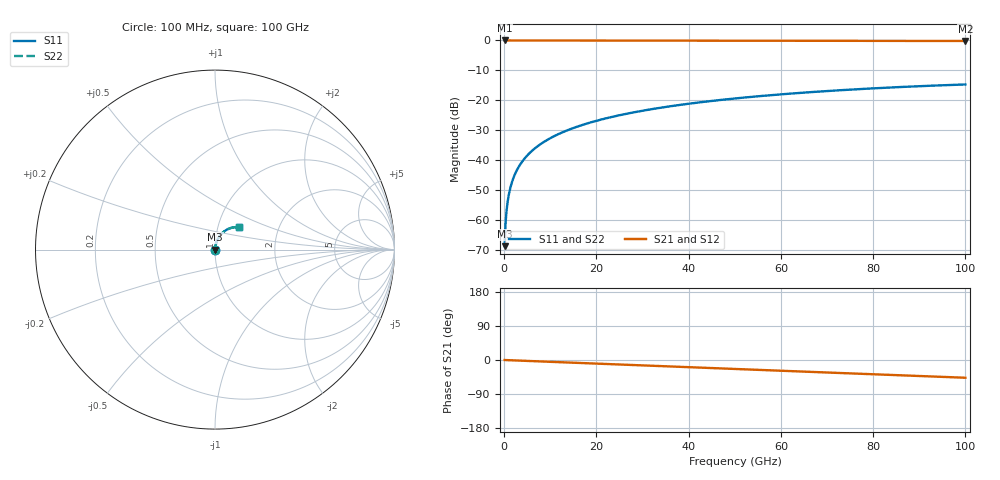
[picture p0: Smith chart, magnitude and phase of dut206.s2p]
! Touchstone file exported from HFSS 2026.1.0
!  File:  C:/ffzhzh/LocalFiles/Ansys_Project_Files/temp_train_TSV_206_1783507560_9504.aedt
!  Generated:  06:47:29 PM Jul  8, 2026
!  Design:  TSV
!  Project:  temp_train_TSV_206_1783507560_9504
! Variables:
!  h_bsmrdl = 2um
!  h_ox = 20um
!  h_rdl = 5um
!  h_sub = 93um
!  h_tmrdl = 5um
!  h_tsv = 93um
!  h_via = 3um
!  l_bsmrdl = 300um
!  l_sub = 414.64um
!  l_tmrdl = 200um
!  m_sub = 200um
!  pitch = 42.98um
!  r_tsv = 7.32um
!  s_tmrdl = 10um
!  w_bsmrdl = 18um
!  w_sub = 500um
!  w_tmrdl = 12um
!  x_tsv_center1 = 206um
!  x_tsv_center2 = 524um
!  x_tsv_center3 = 736um
!  x_tsv_center4 = 1054um
!  x_tsv_center5 = 1266um
!  x_tsv_center6 = 1584um
# GHz S MA R 50.000000
! Terminal data exported
! Port[1] = TSV1_1_T1
! Port[2] = TSV1_1_T2
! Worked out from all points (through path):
!   1000 points, 100 MHz to 100 GHz, reference 50 ohm
!   highest |S21| = 0.00 dB at 100 MHz (marker M1); lowest = -0.2 dB at 100 GHz (marker M2)
!   group delay of S21, straight-line fit = 1.3 ps
!   lowest |S11| = -68.8 dB at 100 MHz (marker M3), VSWR 1.00, Z = 50 + j0.0276 ohm
!   |S11| at or under -10 dB: start of sweep to end of sweep
!   |S22| runs from -68.8 to -14.7 dB; largest |S21 - S12| = 4.4e-15
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0.1  0.0003623 49.7  0.9998 -0.1  0.9998 -0.1  0.0003623 49.7
! Gamma 0 0 0 0
! Port Impedance 50 0 50 0
0.4  0.001108 74.8  0.9997 -0.2  0.9997 -0.2  0.001108 74.8
0.7  0.001855 79.0  0.9997 -0.3  0.9997 -0.3  0.001855 79.0
0.8  0.002101 79.8  0.9996 -0.4  0.9996 -0.4  0.002101 79.8
1.1  0.002835 81.2  0.9996 -0.5  0.9996 -0.5  0.002835 81.2
1.4  0.003562 81.9  0.9995 -0.7  0.9995 -0.7  0.003562 81.9
1.9  0.004757 82.6  0.9994 -0.9  0.9994 -0.9  0.004757 82.6
2.4  0.005933 82.9  0.9994 -1.2  0.9994 -1.2  0.005933 82.9
3  0.007325 83.1  0.9993 -1.5  0.9993 -1.5  0.007325 83.1
3.8  0.009162 83.2  0.9992 -1.8  0.9992 -1.8  0.009162 83.2
4.8  0.01144 83.2  0.999 -2.3  0.999 -2.3  0.01144 83.2
6  0.01417 83.1  0.9989 -2.9  0.9989 -2.9  0.01417 83.1
8.8  0.02049 82.4  0.9986 -4.2  0.9986 -4.2  0.02049 82.4
12.4  0.02854 81.2  0.9982 -5.9  0.9982 -5.9  0.02854 81.2
16.8  0.03826 79.4  0.9976 -8.0  0.9976 -8.0  0.03826 79.4
24.2  0.05437 76.4  0.9965 -11.5  0.9965 -11.5  0.05437 76.4
33.4  0.07386 72.3  0.9949 -15.9  0.9949 -15.9  0.07386 72.3
41.2  0.08979 68.8  0.9934 -19.6  0.9934 -19.6  0.08979 68.8
50.1  0.1072 64.8  0.9914 -23.7  0.9914 -23.7  0.1072 64.8
66.7  0.137 57.3  0.9873 -31.5  0.9873 -31.5  0.137 57.2
83.4  0.1629 49.7  0.9831 -39.2  0.9831 -39.2  0.1629 49.6
100  0.1837 42.2  0.9791 -46.8  0.9791 -46.8  0.1837 42.1
